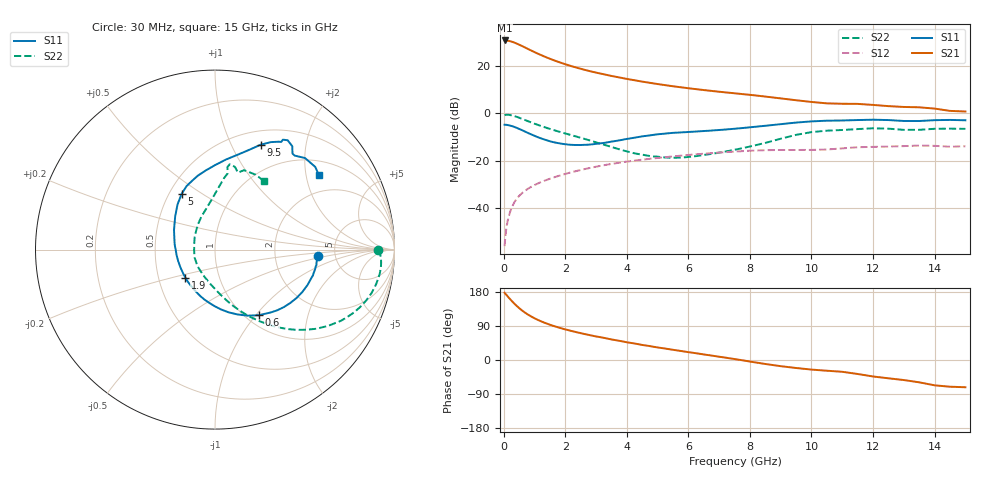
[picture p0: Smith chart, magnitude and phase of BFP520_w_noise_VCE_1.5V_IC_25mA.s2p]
! Infineon Technologies  Discrete & RF Semiconductors
! BFP520
! VCE =  1.5 V,  IC =  25 mA
! Common Emitter S-Parameters:  Oct 2015
# GHz  S  MA  R  50
!  f  S11  S21  S12  S22
! GHz  MAG  ANG  MAG  ANG  MAG  ANG  MAG  ANG
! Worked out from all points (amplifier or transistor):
!   109 points, 30 MHz to 15 GHz, reference 50 ohm
!   highest |S21| = 30.6 dB at 30 MHz (marker M1)
!   |S21| within 3 dB of that: start of sweep to 699.5 MHz
!   unconditionally stable (mu >= 1): 2.548 GHz to end of sweep
!   at 450 MHz: K = 0.38, MSG = 32.4 dB, |S12| = -35.5 dB
!   at 4 GHz: K = 1.11, MAG = 15.4 dB, |S12| = -20.3 dB
!   at 15 GHz: K = 1.26, MAG = 4.3 dB, |S12| = -13.9 dB
!   lowest NFmin = 2.24 dB at 900 MHz
!   S11 on the Smith chart (normalised r, x): 30 MHz: 3.65, -0.36; 600 MHz: 1.14, -1.04; 1.9 GHz: 0.69, -0.23; 5 GHz: 0.58, +0.41; 9.5 GHz: 0.66, +1.30; 15 GHz: 1.42, +2.38
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0.03  0.5737 -3.3  33.98 177.4  0.0016 104.1  0.9102 -0.1
0.14  0.5643 -14.8  33.49 166.9  0.0058 84.9  0.9278 -8.1
0.25  0.5411 -25.8  32.22 156.9  0.01 80.3  0.9052 -15.5
0.3  0.5287 -30.6  31.42 152.6  0.0117 78.1  0.8887 -18.6
0.35  0.5143 -35.3  30.58 148.4  0.0135 76.5  0.8697 -21.6
0.45  0.4846 -44.2  28.72 140.7  0.0167 73.7  0.8282 -26.9
0.6  0.4395 -56.3  25.88 130.5  0.021 70.2  0.761 -33.9
0.8  0.3824 -70.9  22.32 119.3  0.0261 67.0  0.6768 -41.3
1  0.3356 -84.1  19.36 110.2  0.0308 64.8  0.6042 -47.2
1.1  0.3158 -90.2  18.06 106.2  0.0331 64.0  0.5724 -49.7
1.3  0.2834 -102.4  15.84 99.2  0.0375 62.4  0.5165 -54.2
1.5  0.2577 -114.0  14.02 93.1  0.0419 61.2  0.469 -58.2
1.9  0.2275 -136.4  11.29 83.1  0.0507 58.6  0.3924 -65.3
2.6  0.2162 -171.7  8.289 69.0  0.0663 53.5  0.292 -76.9
3.5  0.2532 154.4  6.093 54.2  0.086 45.7  0.1957 -96.9
5  0.3611 121.1  4.114 33.1  0.1146 31.9  0.1221 -158.3
5.1  0.3659 119.7  4.027 31.9  0.1164 31.0  0.1198 -162.2
7.6  0.4783 88.2  2.591 1.2  0.1576 7.4  0.1758 120.9
9.5  0.637 66.5  1.878 -21.1  0.1688 -11.1  0.3512 86.3
10.5  0.6976 59.5  1.615 -28.3  0.1729 -16.1  0.4299 80.6
13  0.6874 51.1  1.357 -52.9  0.2037 -37.3  0.4478 73.5
15  0.7117 35.5  1.088 -71.9  0.2024 -53.6  0.4694 54.1
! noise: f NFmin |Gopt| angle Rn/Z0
0.45  2.26  0.05  -41  0.28
0.9  2.24  0.05  -56  0.3
1.9  2.41  0.06  -76  0.3
2.4  2.41  0.09  -92  0.29
3.5  2.36  0.1  -92  0.31
